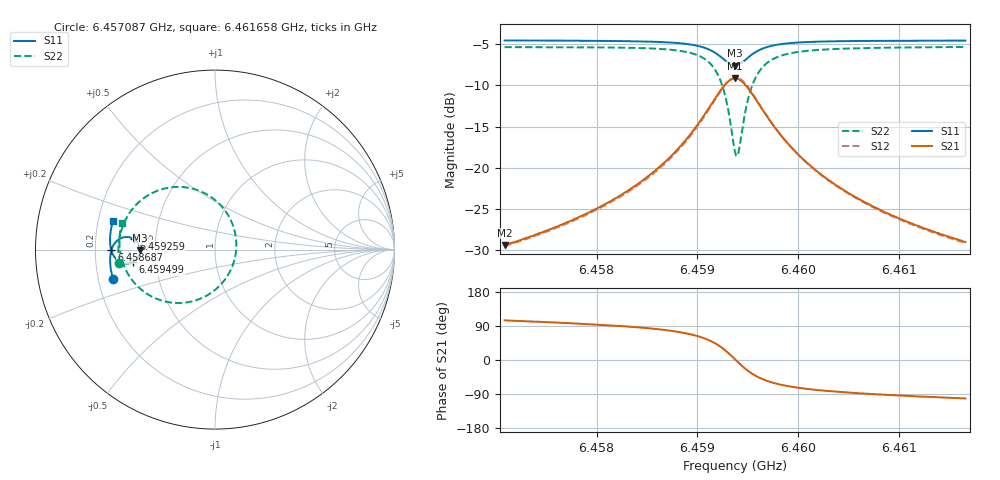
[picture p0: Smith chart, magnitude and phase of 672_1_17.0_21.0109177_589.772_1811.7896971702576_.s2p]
#  HZ  S  RI  R  50.00
! Rohde & Schwarz Vector Network Analyzer
! Rohde-Schwarz,ZNB20-2Port,1311601062101988,3.16
! Created: UTC 3/20/2024, 11:22:12 PM
! freq[Hz]  re:S11  im:S11  re:S21  im:S21  re:S12  im:S12  re:S22  im:S22
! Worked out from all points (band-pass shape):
!   401 points, 6.457087 GHz to 6.461658 GHz, reference 50 ohm
!   highest |S21| = -9.15 dB at 6.459373 GHz (marker M1); lowest = -29.4 dB at 6.457087 GHz (marker M2)
!   |S21| within 3 dB of the highest: 6.459145 GHz to 6.459602 GHz (457.2 kHz wide, 0.00708 % of centre)
!   lowest |S11| = -7.6 dB at 6.459373 GHz (marker M3), VSWR 2.43, Z = 20.6 - j0.204 ohm
!   |S11| at or under -10 dB: nowhere
!   |S22| runs from -18.5 to -5.3 dB; largest |S21 - S12| = 0.014
!   S11 on the Smith chart (normalised r, x): 6.457087 GHz: 0.26, -0.13; 6.458687 GHz: 0.27, -0.00; 6.459259 GHz: 0.37, +0.06; 6.459499 GHz: 0.37, -0.07; 6.461658 GHz: 0.26, +0.13
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6.4570872e9  -0.5691 -0.1636  -0.00856 0.033  -0.0068 0.0328  -0.5341 -0.0755
6.4578529e9  -0.582 -0.0962  -0.005 0.0509  -0.00226 0.0503  -0.538 0.0148
6.4582529e9  -0.5845 -0.0563  0.000837 0.0691  0.00415 0.0677  -0.5297 0.0778
6.4586186e9  -0.5799 -0.0127  0.0157 0.0994  0.0197 0.0965  -0.502 0.1598
6.4586871e9  -0.5775 -0.00306  0.0212 0.1076  0.0253 0.1044  -0.4917 0.1798
6.4588814e9  -0.5645 0.0272  0.0483 0.1384  0.0524 0.1334  -0.4405 0.2488
6.45903e9  -0.5414 0.0532  0.0943 0.1685  0.0974 0.1618  -0.3558 0.3124
6.4591671e9  -0.4972 0.0702  0.1821 0.1842  0.1829 0.1768  -0.1952 0.3494
6.4592585e9  -0.4526 0.0595  0.2721 0.1521  0.2722 0.1462  -0.0281 0.2972
6.4593271e9  -0.4235 0.0272  0.3325 0.0792  0.3346 0.074  0.0872 0.1659
6.4593728e9  -0.4166 -0.0041  0.3485 0.0108  0.3522 0.00364  0.1189 0.0376
6.4594071e9  -0.4207 -0.028  0.3424 -0.0422  0.3463 -0.0513  0.1067 -0.0629
6.4594528e9  -0.4365 -0.0542  0.3132 -0.1026  0.3155 -0.1145  0.0477 -0.1769
6.4594985e9  -0.4588 -0.0707  0.2704 -0.1438  0.2695 -0.1571  -0.039 -0.2523
6.4595442e9  -0.4821 -0.0775  0.2252 -0.166  0.2211 -0.1792  -0.1298 -0.2889
6.4595899e9  -0.5029 -0.0775  0.1843 -0.1746  0.1778 -0.1862  -0.2107 -0.2976
6.4597385e9  -0.5468 -0.0565  0.0953 -0.1597  0.0867 -0.1657  -0.3801 -0.2458
6.4598985e9  -0.5683 -0.0285  0.0503 -0.1307  0.0425 -0.1335  -0.4605 -0.1717
6.4601385e9  -0.5808 0.0072  0.0214 -0.0984  0.0153 -0.0991  -0.5081 -0.0878
6.4604813e9  -0.585 0.0483  0.00543 -0.0711  0.00132 -0.0706  -0.5286 -0.00804
6.4609041e9  -0.5826 0.0909  -0.00208 -0.0523  -0.00499 -0.0514  -0.532 0.0605
6.4616584e9  -0.5697 0.1578  -0.00706 -0.0347  -0.00869 -0.0338  -0.5195 0.1501
